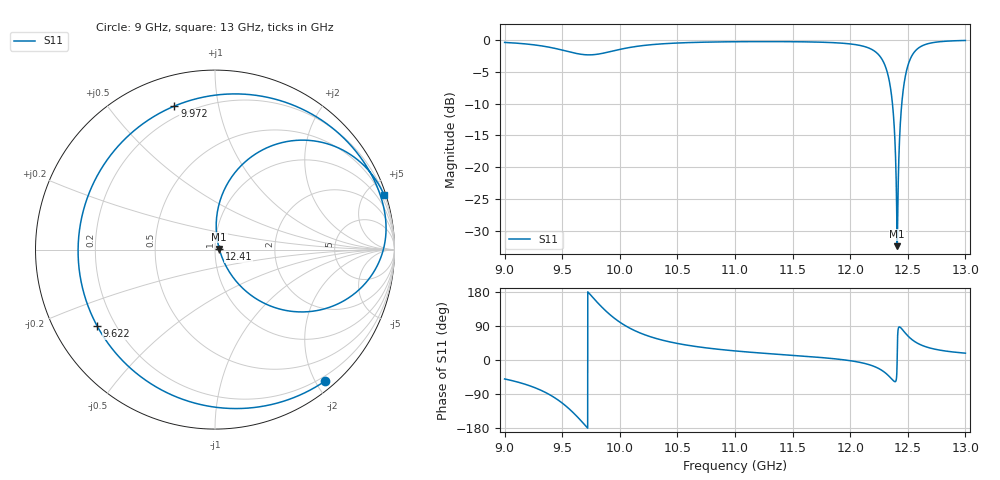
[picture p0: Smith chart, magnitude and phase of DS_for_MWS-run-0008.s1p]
! TOUCHSTONE file generated by CST DESIGN STUDIO
! Date and time: Tue Feb  4 17:39:22 2025
! Project name: C:\Work\MatlabApps\UnitCellOptimizationMatlab\CST\unitcell.cst
! Tree item: Tasks\Sweep1\SPara1\S-Parameters
! Header version: 2024
! Port assignment regex: !\s*Touchstone port\s*([0-9]+)\s*=\s*(CST MWS port|CST DES external port|CST DES block port)\s*(.+)\s* \(\"(.*)\"\)(\s*mode\s*([0-9]+))?.*
! Touchstone port assignment:
! Touchstone port 1 = CST DES external port 1 ("")
# GHz S MA R 50
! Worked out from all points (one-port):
!   4001 points, 9 GHz to 13 GHz, reference 50 ohm
!   lowest |S11| = -32.4 dB at 12.41 GHz (marker M1), VSWR 1.05, Z = 52.4 + j0.352 ohm
!   |S11| at or under -10 dB: 12.37 GHz to 12.45 GHz (81.13 MHz wide, 0.654 % of centre)
!   S11 on the Smith chart (normalised r, x): 9 GHz: 0.13, -2.14; 9.622 GHz: 0.13, -0.29; 9.972 GHz: 0.14, +0.75; 12.41 GHz: 1.05, +0.01; 13 GHz: 0.21, +6.29
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9  0.9551 -50.0
9.26  0.9131 -72.8
9.395  0.8733 -92.3
9.5  0.8318 -113.6
9.622  0.7827 -147.0
9.7  0.7645 -172.6
9.774  0.7655 162.2
9.875  0.7929 130.5
9.972  0.831 105.8
10  0.8418 99.8
10.227  0.908 65.4
10.5  0.9452 43.6
11  0.9673 24.0
11.5  0.9678 12.3
12  0.9296 -1.8
12.194  0.8351 -15.3
12.309  0.6062 -34.9
12.364  0.3338 -51.2
12.379  0.231 -55.7
12.396  0.1028 -55.8
12.408  0.02394 8.0
12.421  0.1067 86.2
12.437  0.2341 85.6
12.452  0.3467 80.7
12.5  0.6248 63.8
12.577  0.8401 45.5
12.667  0.9292 33.9
13  0.9898 18.1
